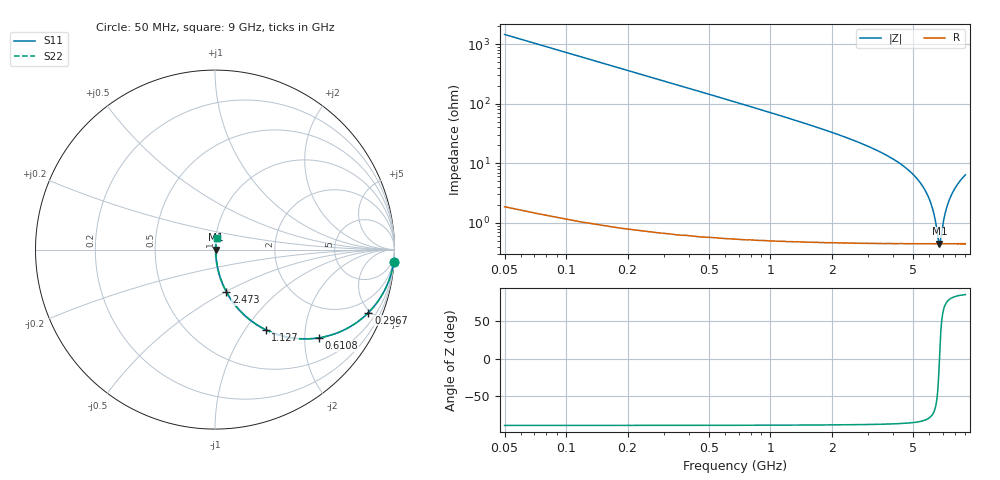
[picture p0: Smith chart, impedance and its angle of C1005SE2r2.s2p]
!	AVX	Thin	Film	Operation
!	Date:	March 2012
!	Description: Ultra-Miniature 01005 Size ACCU - P® Thin Film RF / Microwave Capacitor
!	Part Number:  C005YK2R2ABSTR
!	Serial	Measurements
#	MHz	S	db	R	50
!	S11	S21	S12	S22
!	dB	Phase	dB	Phase	dB	Phase	dB	Phase
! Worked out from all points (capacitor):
!   400 points, 50 MHz to 9 GHz, reference 50 ohm
!   read as one part in series: C = 2.2 pF near 94.86 MHz
!   lowest |Z| = 449 mohm at 6.712 GHz (marker M1)
!   series resonance near 6.72 GHz, so ESL is about 250 pH
!   S11 on the Smith chart (normalised r, x): 50 MHz: 1, -29; 296.7 MHz: 1.01, -4.87; 610.8 MHz: 1.01, -2.35; 1.127 GHz: 1.01, -1.25; 2.473 GHz: 1.01, -0.51; 9 GHz: 1.01, +0.13
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50  -0.02 -4.0  -23.23 86.0  -23.23 86.0  -0.02 -4.0
94.862  -0.08 -7.5  -17.72 82.4  -17.72 82.4  -0.08 -7.5
139.724  -0.16 -10.9  -14.44 79.0  -14.44 79.0  -0.16 -10.9
207.018  -0.35 -16.0  -11.21 73.9  -11.21 73.9  -0.35 -16.0
296.742  -0.69 -22.3  -8.41 67.5  -8.41 67.5  -0.69 -22.3
431.328  -1.34 -30.9  -5.80 58.9  -5.80 58.9  -1.34 -30.9
610.777  -2.39 -40.3  -3.79 49.4  -3.79 49.4  -2.39 -40.3
1126.692  -5.55 -57.7  -1.46 31.8  -1.46 31.8  -5.55 -57.7
1552.882  -7.92 -65.7  -0.81 23.7  -0.81 23.7  -7.92 -65.7
2472.556  -12.24 -74.8  -0.31 14.1  -0.31 14.1  -12.24 -74.8
3055.764  -14.71 -78.0  -0.19 10.6  -0.19 10.6  -14.71 -78.0
4536.216  -21.29 -82.1  -0.07 4.9  -0.07 4.9  -21.29 -82.1
5411.028  -26.57 -81.9  -0.05 2.7  -0.05 2.7  -26.57 -81.9
6016.667  -32.35 -78.0  -0.04 1.4  -0.04 1.4  -32.35 -78.0
6353.133  -37.84 -69.0  -0.04 0.7  -0.04 0.7  -37.84 -69.0
6644.737  -45.93 -28.2  -0.04 0.1  -0.04 0.1  -45.93 -28.2
6712.03  -47.03 -3.1  -0.04 0.0  -0.04 0.0  -47.03 -3.1
6779.323  -46.31 23.0  -0.04 -0.1  -0.04 -0.1  -46.31 23.0
7138.221  -37.26 70.3  -0.04 -0.7  -0.04 -0.7  -37.26 70.3
7519.549  -32.19 78.2  -0.04 -1.4  -0.04 -1.4  -32.19 78.2
8125.188  -27.71 81.5  -0.05 -2.3  -0.05 -2.3  -27.71 81.5
9000  -23.94 82.4  -0.06 -3.6  -0.06 -3.6  -23.94 82.4
